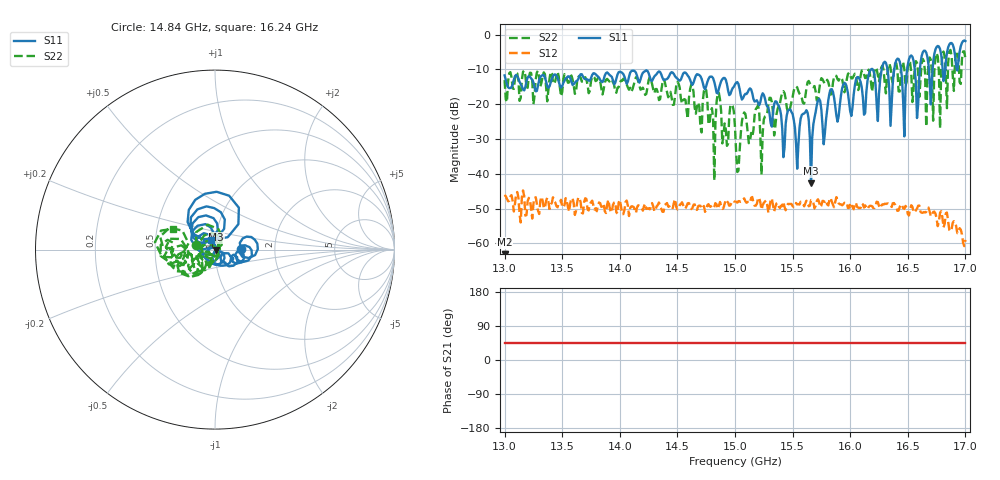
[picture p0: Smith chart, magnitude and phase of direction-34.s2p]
!Keysight Technologies,P9374A,MY57211810,A.19.30.04
!Date: Friday, May 02, 2025 09:00:04
!Correction: S11(Off)
!S21(Off)
!S12(Off)
!S22(Off)
!S2P File: Measurements: S11, S21, S12, S22:
# Hz S  dB  R 50
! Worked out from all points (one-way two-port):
!   401 points, 13 GHz to 17 GHz, reference 50 ohm
!   highest |S21| = - dB at 13 GHz (marker M1); lowest = - dB at 13 GHz (marker M2)
!   lowest |S11| = -42.7 dB at 15.66 GHz (marker M3), VSWR 1.01, Z = 50.7 + j0.0543 ohm
!   |S11| at or under -10 dB: start of sweep to 16.18 GHz; 16.19509 GHz to 16.27412 GHz (79.03 MHz wide, 0.487 % of centre); 16.32318 GHz to 16.38226 GHz (59.08 MHz wide, 0.361 % of centre) (the widest 3 of 8)
!   |S22| runs from -41.9 to -4.4 dB; largest |S21 - S12| = 0.0058
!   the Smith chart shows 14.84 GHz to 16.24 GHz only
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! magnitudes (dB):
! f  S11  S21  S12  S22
! 13 GHz  -11.7  -  -46.0  -13.1
! 13.67 GHz  -11.4  -  -51.2  -13.5
! 14.34 GHz  -10.6  -  -48.2  -18.8
! 14.74 GHz  -15.7  -  -50.9  -15.4
! 14.8 GHz  -12.1  -  -49.7  -21.1
! 14.86 GHz  -15.5  -  -49.2  -16.8
! 15 GHz  -14.3  -  -48.0  -26.7
! 15.66 GHz  -42.7  -  -47.6  -14.4
! 15.67 GHz  -29.7  -  -47.6  -14.9
! 15.83 GHz  -15.7  -  -46.9  -17.3
! 16.12 GHz  -23.0  -  -49.7  -11.4
! 16.19 GHz  -9.8  -  -49.3  -16.4
! 16.24 GHz  -24.8  -  -48.1  -11.6
! 16.3 GHz  -7.8  -  -48.6  -14.0
! 16.34 GHz  -16.1  -  -48.6  -8.3
! 16.41 GHz  -6.9  -  -50.6  -10.2
! 16.47 GHz  -29.2  -  -50.1  -10.0
! 16.52 GHz  -6.3  -  -50.3  -8.0
! 16.58 GHz  -24.0  -  -50.0  -8.1
! 16.64 GHz  -4.6  -  -51.0  -7.6
! 16.7 GHz  -20.1  -  -52.2  -7.2
! 17 GHz  -1.9  -  -59.0  -6.9
